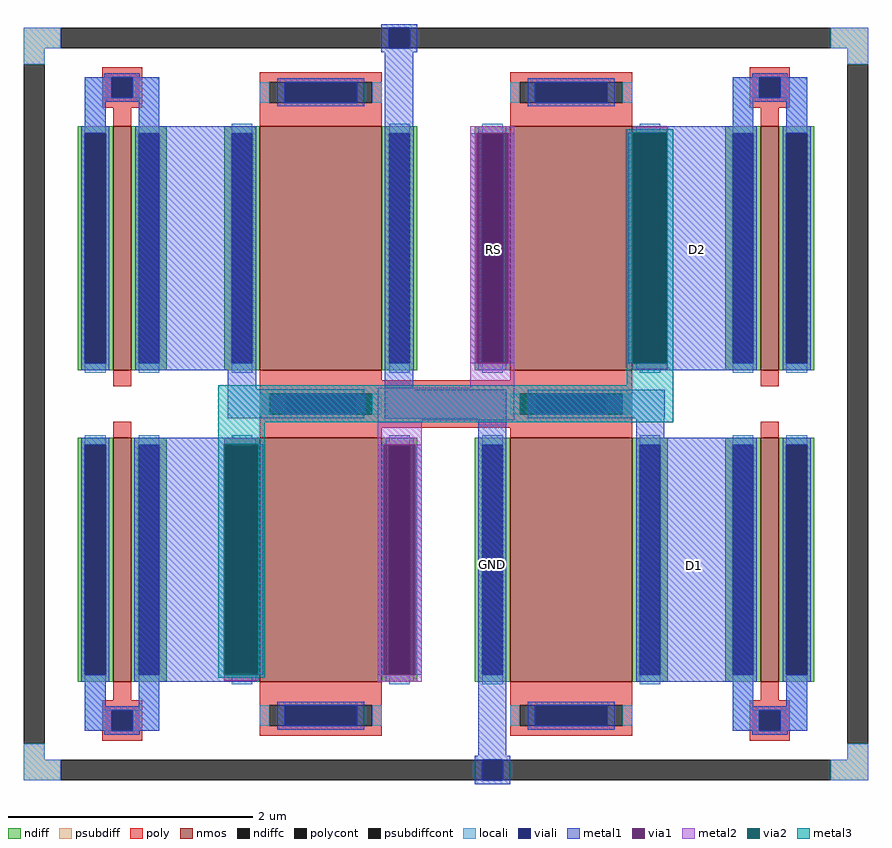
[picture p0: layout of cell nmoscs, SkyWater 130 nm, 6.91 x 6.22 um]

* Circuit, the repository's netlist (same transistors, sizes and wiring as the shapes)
** sch_path: /home/azrielshelomita/opamp/mag/nmoscs.sch
.subckt nmoscs GND RS D2 D1
*.PININFO GND:B RS:B D2:B D1:B
XM3 D1 D1 GND GND sky130_fd_pr__nfet_01v8 L=1 W=2 nf=1 m=2
XM4 D2 D1 RS GND sky130_fd_pr__nfet_01v8 L=1 W=2 nf=1 m=2
XM1 D1 D1 D1 GND sky130_fd_pr__nfet_01v8 L=0.15 W=2 nf=1 m=2
XM2 D2 D2 D2 GND sky130_fd_pr__nfet_01v8 L=0.15 W=2 nf=1 m=2
.ends
.end

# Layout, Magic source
magic
tech sky130A
magscale 1 2
<< psubdiff >>
rect -328 615 -268 649
rect 993 615 1054 649
rect -328 589 -294 615
rect 1020 589 1054 615
rect -328 -549 -294 -523
rect 1020 -549 1054 -523
rect -328 -583 -268 -549
rect 993 -583 1054 -549
<< psubdiffcont >>
rect -268 615 993 649
rect -328 -523 -294 589
rect 1020 -523 1054 589
rect -268 -583 993 -549
<< poly >>
rect -200 568 -134 584
rect -200 534 -184 568
rect -150 534 -134 568
rect -200 518 -134 534
rect 860 568 926 584
rect 860 534 876 568
rect 910 534 926 568
rect 860 518 926 534
rect -182 514 -152 518
rect 878 514 908 518
rect 258 -6 468 72
rect -182 -452 -152 -448
rect 878 -452 908 -448
rect -200 -468 -134 -452
rect -200 -502 -184 -468
rect -150 -502 -134 -468
rect -200 -518 -134 -502
rect 860 -468 926 -452
rect 860 -502 876 -468
rect 910 -502 926 -468
rect 860 -518 926 -502
<< polycont >>
rect -184 534 -150 568
rect 876 534 910 568
rect -184 -502 -150 -468
rect 876 -502 910 -468
<< locali >>
rect -328 615 -268 649
rect 993 615 1054 649
rect -328 589 -294 615
rect 1020 589 1054 615
rect -228 534 -184 568
rect -150 534 -106 568
rect -228 488 -194 534
rect -140 487 -106 534
rect 832 534 876 568
rect 910 534 954 568
rect 832 491 866 534
rect 920 491 954 534
rect -228 -468 -194 -422
rect -140 -468 -106 -422
rect -228 -502 -184 -468
rect -150 -502 -106 -468
rect 832 -468 866 -422
rect 920 -468 954 -422
rect 832 -502 876 -468
rect 910 -502 954 -468
rect -328 -549 -294 -523
rect 1020 -549 1054 -523
rect -328 -583 -268 -549
rect 993 -583 1054 -549
<< viali >>
rect 269 615 304 649
rect -184 534 -150 568
rect 876 534 910 568
rect -184 -502 -150 -468
rect 876 -502 910 -468
rect 422 -583 456 -549
<< metal1 >>
rect 257 649 316 655
rect 257 615 269 649
rect 304 615 316 649
rect 257 609 316 615
rect -196 568 -138 574
rect -228 534 -184 568
rect -150 534 -106 568
rect -228 528 -106 534
rect -228 485 -194 528
rect -140 488 -106 528
rect -146 88 52 488
rect 6 57 52 88
rect 6 10 229 57
rect 263 56 309 609
rect 864 568 922 574
rect 832 534 876 568
rect 910 534 954 568
rect 832 528 954 534
rect 832 488 866 528
rect 920 488 954 528
rect 674 477 872 488
rect 403 100 413 476
rect 465 100 475 476
rect 661 100 671 477
rect 723 100 872 477
rect 674 88 872 100
rect 263 9 462 56
rect 497 10 721 56
rect -147 -33 51 -22
rect -147 -410 2 -33
rect 54 -410 64 -33
rect 251 -410 261 -34
rect 313 -410 323 -34
rect -228 -462 -194 -420
rect -147 -422 51 -410
rect -140 -462 -106 -422
rect -228 -468 -106 -462
rect -228 -502 -184 -468
rect -150 -502 -106 -468
rect -196 -508 -138 -502
rect 416 -543 462 9
rect 674 -22 720 10
rect 674 -422 872 -22
rect 832 -462 866 -422
rect 920 -462 954 -419
rect 832 -468 954 -462
rect 832 -502 876 -468
rect 910 -502 954 -468
rect 864 -508 922 -502
rect 410 -549 468 -543
rect 410 -583 422 -549
rect 456 -583 468 -549
rect 410 -589 468 -583
<< via1 >>
rect 413 100 465 476
rect 671 100 723 477
rect 2 -410 54 -33
rect 261 -410 313 -34
<< metal2 >>
rect 403 476 475 488
rect 403 100 413 476
rect 465 100 475 476
rect 403 60 475 100
rect 669 477 725 487
rect 669 90 725 100
rect 251 6 475 60
rect 0 -33 56 -23
rect 0 -420 56 -410
rect 251 -34 323 6
rect 251 -410 261 -34
rect 313 -410 323 -34
rect 251 -422 323 -410
<< via2 >>
rect 669 100 671 477
rect 671 100 723 477
rect 723 100 725 477
rect 0 -410 2 -33
rect 2 -410 54 -33
rect 54 -410 56 -33
<< metal3 >>
rect 659 477 735 483
rect 659 100 669 477
rect 725 100 735 477
rect 659 64 735 100
rect -10 3 735 64
rect -10 -33 66 3
rect -10 -410 0 -33
rect 56 -410 66 -33
rect -10 -415 66 -410
use sky130_fd_pr__nfet_01v8_46AAJJ  sky130_fd_pr__nfet_01v8_46AAJJ_0
transform 1 0 568 0 1 -222
box -158 -288 158 288
use sky130_fd_pr__nfet_01v8_46AAJJ  sky130_fd_pr__nfet_01v8_46AAJJ_1
transform 1 0 568 0 1 288
box -158 -288 158 288
use sky130_fd_pr__nfet_01v8_46AAJJ  sky130_fd_pr__nfet_01v8_46AAJJ_2
transform 1 0 158 0 1 -222
box -158 -288 158 288
use sky130_fd_pr__nfet_01v8_46AAJJ  sky130_fd_pr__nfet_01v8_46AAJJ_3
transform 1 0 158 0 1 288
box -158 -288 158 288
use sky130_fd_pr__nfet_01v8_TC9PLT  sky130_fd_pr__nfet_01v8_TC9PLT_0
transform 1 0 -167 0 1 288
box -73 -226 73 226
use sky130_fd_pr__nfet_01v8_TC9PLT  sky130_fd_pr__nfet_01v8_TC9PLT_1
transform 1 0 893 0 1 288
box -73 -226 73 226
use sky130_fd_pr__nfet_01v8_TC9PLT  sky130_fd_pr__nfet_01v8_TC9PLT_2
transform 1 0 893 0 1 -222
box -73 -226 73 226
use sky130_fd_pr__nfet_01v8_TC9PLT  sky130_fd_pr__nfet_01v8_TC9PLT_3
transform 1 0 -167 0 1 -222
box -73 -226 73 226
<< labels >>
flabel via1 440 286 440 286 0 FreeSans 480 0 0 0 RS
port 2 nsew
flabel metal1 439 -229 439 -229 0 FreeSans 480 0 0 0 GND
port 3 nsew
flabel metal1 774 286 774 286 0 FreeSans 480 0 0 0 D2
port 5 nsew
flabel metal1 770 -232 770 -232 0 FreeSans 480 0 0 0 D1
port 4 nsew
<< end >>

# cell sky130_fd_pr__nfet_01v8_46AAJJ: kit device sky130_fd_pr__nfet_01v8, w 2 l 1 m 1 nf 1 diffcov 100 polycov 100 guard 0 glc 1 grc 1 gtc 1 gbc 1 tbcov 100 rlcov 100 topc 1 botc 1 poverlap 0 doverlap 1 lmin 0.15 wmin 0.42 compatible {sky130_fd_pr__nfet_01v8 sky130_fd_pr__nfet_01v8_lvt sky130_fd_bs_flash__special_sonosfet_star sky130_fd_pr__nfet_g5v0d10v5 sky130_fd_pr__nfet_05v0_nvt sky130_fd_pr__nfet_03v3_nvt} full_metal 1 viasrc 100 viadrn 100 viagate 70 viagb 0 viagr 0 viagl 0 viagt 0

# cell sky130_fd_pr__nfet_01v8_TC9PLT: kit device sky130_fd_pr__nfet_01v8, w 2 l 0.150 m 1 nf 1 diffcov 100 polycov 100 guard 0 glc 1 grc 1 gtc 1 gbc 1 tbcov 100 rlcov 100 topc 0 botc 0 poverlap 0 doverlap 1 lmin 0.15 wmin 0.42 compatible {sky130_fd_pr__nfet_01v8 sky130_fd_pr__nfet_01v8_lvt sky130_fd_bs_flash__special_sonosfet_star sky130_fd_pr__nfet_g5v0d10v5 sky130_fd_pr__nfet_05v0_nvt sky130_fd_pr__nfet_03v3_nvt} full_metal 1 viasrc 100 viadrn 100 viagate 100 viagb 0 viagr 0 viagl 0 viagt 0
